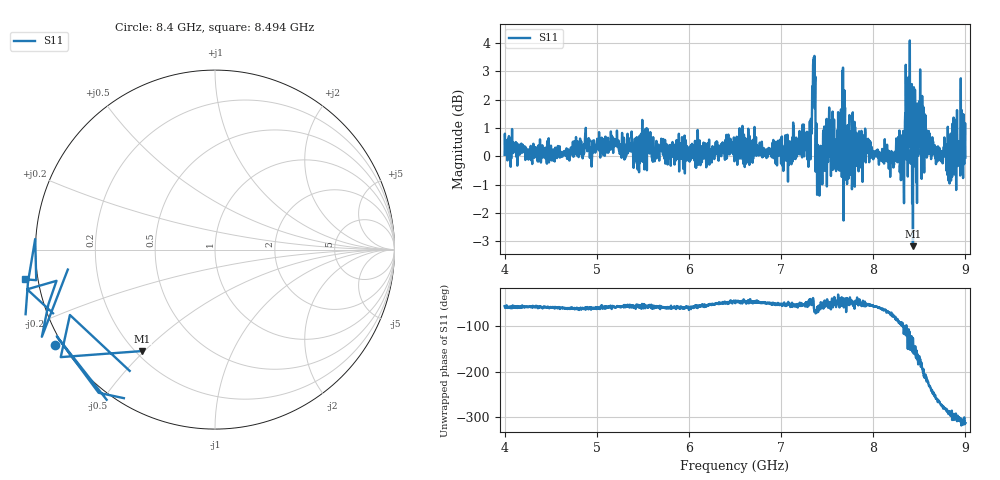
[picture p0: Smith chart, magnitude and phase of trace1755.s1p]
! Created with skrf 1.8.0 (http://scikit-rf.org).
# Hz S RI R 50.0
!freq ReS11 ImS11
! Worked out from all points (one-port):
!   1601 points, 4 GHz to 9 GHz, reference 50 ohm
!   lowest |S11| = -3.2 dB at 8.431 GHz (marker M1), VSWR 5.55, Z = 11.3 - j24.7 ohm
!   |S11| at or under -10 dB: nowhere
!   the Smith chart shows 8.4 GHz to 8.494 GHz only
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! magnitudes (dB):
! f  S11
! 4 GHz  0.1
! 4.625 GHz  0.0
! 5.25 GHz  0.1
! 5.875 GHz  -0.1
! 6.5 GHz  0.4
! 7.125 GHz  0.7
! 7.294 GHz  0.3
! 7.319 GHz  -0.1
! 7.347 GHz  3.2
! 7.362 GHz  3.5
! 7.4 GHz  0.4
! 7.412 GHz  0.2
! 7.538 GHz  0.6
! 7.591 GHz  0.6
! 7.669 GHz  1.0
! 7.703 GHz  -0.8
! 7.75 GHz  0.1
! 7.922 GHz  0.1
! 8.312 GHz  0.5
! 8.375 GHz  -0.7
! 8.431 GHz  -3.2
! 8.481 GHz  0.9
! 8.522 GHz  1.5
! 8.575 GHz  0.9
! 8.697 GHz  -0.2
! 8.841 GHz  0.8
! 8.953 GHz  -0.5
! 9 GHz  0.0
